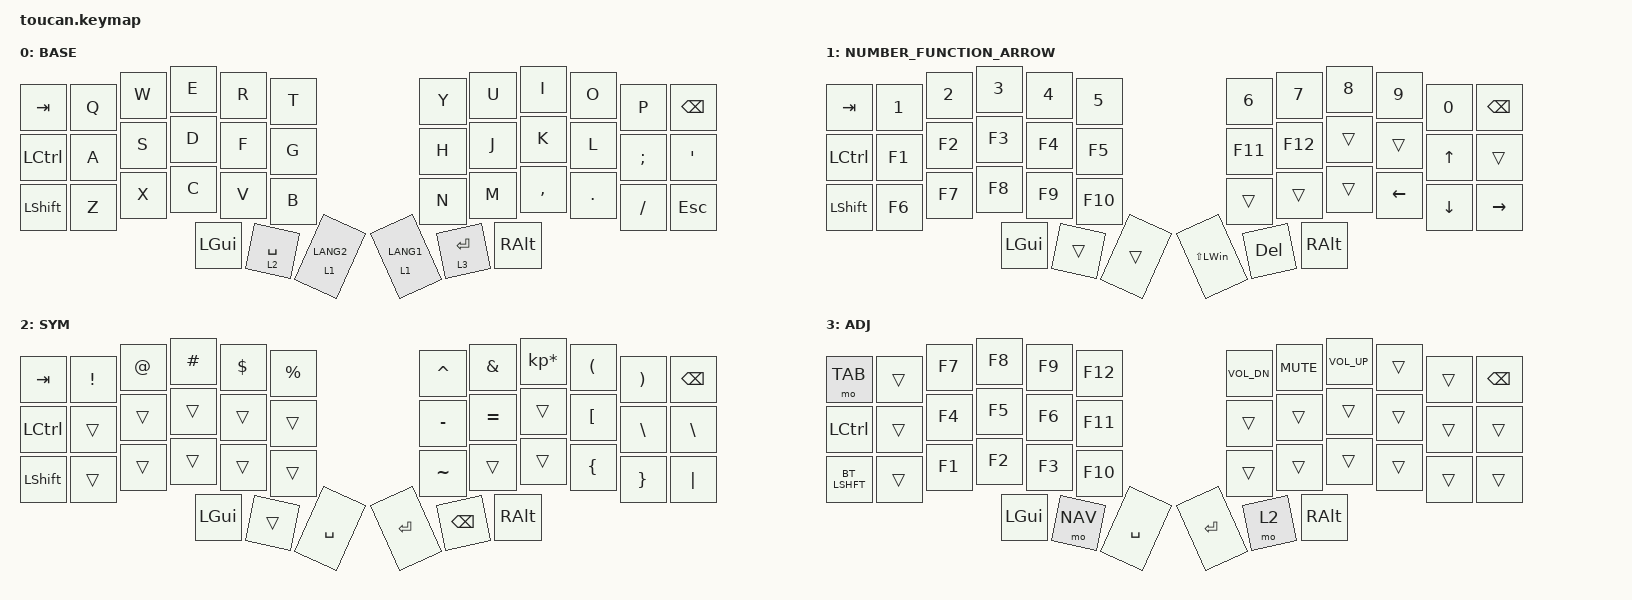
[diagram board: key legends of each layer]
#include <behaviors.dtsi>
#include <dt-bindings/zmk/bt.h>
#include <dt-bindings/zmk/keys.h>

#define BASE 0
#define NAV  1
#define SYM  2
#define ADJ  3

/ {
    conditional_layers {
        compatible = "zmk,conditional-layers";

        tri_layer {
            if-layers = <1 2>;
            then-layer = <3>;
        };
    };

    keymap {
        compatible = "zmk,keymap";

        base {
            display-name = "BASE";
            bindings = <
&kp TAB  &kp Q  &kp W  &kp E  &kp R  &kp T  &kp Y  &kp U  &kp I  &kp O  &kp P  &kp BSPC  &kp LCTRL  &kp A  &kp S  &kp D  &kp F  &kp G  &kp H  &kp J  &kp K  &kp L  &kp SEMI  &kp SQT  &kp LSHFT  &kp Z  &kp X  &kp C  &kp V  &kp B  &kp N  &kp M  &kp COMMA  &kp DOT  &kp FSLH  &kp ESC  &kp LGUI  &lt 2 SPACE  &lt 1 LANG2  &lt 1 LANG1  &lt 3 ENTER  &kp RALT
            >;
        };

        NUMBER_FUNCTION_ARROW {
            display-name = "NUMBER_FUNCTION_ARROW";
            bindings = <
&kp TAB  &kp N1  &kp N2  &kp N3  &kp N4  &kp N5  &kp N6  &kp N7  &kp N8  &kp N9  &kp N0  &kp BSPC  &kp LCTRL  &kp F1  &kp F2  &kp F3  &kp F4  &kp F5  &kp F11  &kp F12  &trans  &trans  &kp UP_ARROW  &trans  &kp LSHFT  &kp F6  &kp F7  &kp F8  &kp F9  &kp F10  &trans  &trans  &trans  &kp LEFT_ARROW  &kp DOWN_ARROW  &kp RIGHT_ARROW  &kp LGUI  &trans  &trans  &kp LS(LEFT_WIN)  &kp DELETE  &kp RALT
            >;
        };

        sym {
            display-name = "SYM";
            bindings = <
&kp TAB  &kp EXCL  &kp AT  &kp HASH  &kp DLLR  &kp PRCNT  &kp CARET  &kp AMPS  &kp KP_MULTIPLY  &kp LPAR  &kp RPAR  &kp BSPC  &kp LCTRL  &trans  &trans  &trans  &trans  &trans  &kp MINUS  &kp EQUAL  &trans  &kp LEFT_BRACKET  &kp BSLH  &kp BACKSLASH  &kp LSHFT  &trans  &trans  &trans  &trans  &trans  &kp TILDE  &trans  &trans  &kp LEFT_BRACE  &kp RIGHT_BRACE  &kp PIPE  &kp LGUI  &trans  &kp SPACE  &kp RET  &kp BACKSPACE  &kp RALT
            >;
        };

        adj {
            display-name = "ADJ";
            bindings = <
&mo TAB  &trans  &kp F7  &kp F8  &kp F9  &kp F12  &kp C_VOL_DN  &kp C_MUTE  &kp C_VOL_UP  &trans  &trans  &kp BSPC  &kp LCTRL  &trans  &kp F4  &kp F5  &kp F6  &kp F11  &trans  &trans  &trans  &trans  &trans  &trans  &bt LSHFT  &trans  &kp F1  &kp F2  &kp F3  &kp F10  &trans  &trans  &trans  &trans  &trans  &trans  &kp LGUI  &mo NAV  &kp SPACE  &kp RET  &mo 2  &kp RALT
            >;
        };

        extra_1 { status = "reserved"; };

        extra_2 { status = "reserved"; };

        extra_3 { status = "reserved"; };
    };
};
